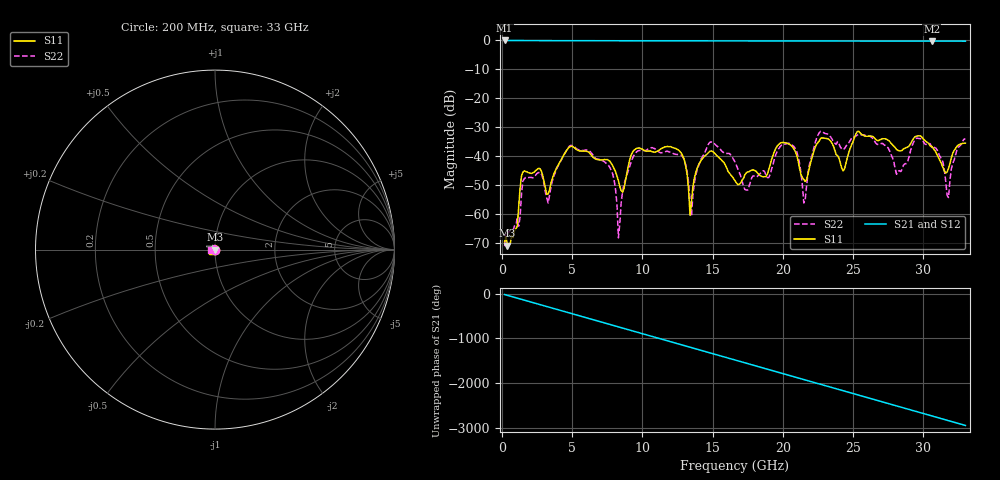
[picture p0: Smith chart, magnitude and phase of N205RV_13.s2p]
# GHZ S RI R 50
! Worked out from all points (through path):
!   329 points, 200 MHz to 33 GHz, reference 50 ohm
!   highest |S21| = -0.02 dB at 200 MHz (marker M1); lowest = -0.3 dB at 30.6 GHz (marker M2)
!   group delay of S21, straight-line fit = 248 ps
!   lowest |S11| = -71.1 dB at 400 MHz (marker M3), VSWR 1.00, Z = 50 - j0.000285 ohm
!   |S11| at or under -10 dB: start of sweep to end of sweep
!   |S22| runs from -71.2 to -31.5 dB; largest |S21 - S12| = 0.0019
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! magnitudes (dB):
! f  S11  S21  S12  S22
! 200 MHz  -69.8  0.0  0.0  -71.2
! 400 MHz  -71.1  0.0  0.0  -66.1
! 1.2 GHz  -58.0  0.0  0.0  -64.3
! 1.5 GHz  -45.6  -0.1  -0.1  -48.7
! 3.3 GHz  -53.2  -0.1  -0.1  -56.3
! 5.7 GHz  -38.3  -0.1  -0.1  -38.1
! 7.8 GHz  -42.6  -0.1  -0.1  -45.0
! 8.3 GHz  -48.6  -0.1  -0.1  -68.4
! 9.4 GHz  -38.0  -0.1  -0.1  -39.8
! 11.2 GHz  -38.0  -0.1  -0.1  -38.7
! 12.9 GHz  -40.2  -0.2  -0.2  -40.4
! 13.5 GHz  -56.1  -0.2  -0.2  -60.9
! 14.8 GHz  -38.4  -0.2  -0.2  -35.3
! 16.6 GHz  -48.6  -0.2  -0.2  -42.1
! 17.5 GHz  -45.6  -0.2  -0.2  -51.8
! 20.5 GHz  -36.0  -0.2  -0.2  -35.7
! 21.5 GHz  -48.2  -0.2  -0.2  -56.3
! 22.1 GHz  -40.2  -0.2  -0.2  -39.4
! 27.6 GHz  -35.0  -0.2  -0.2  -38.2
! 30.6 GHz  -36.7  -0.3  -0.3  -37.1
! 31.8 GHz  -44.3  -0.3  -0.3  -54.4
! 33 GHz  -35.6  -0.3  -0.3  -34.1
